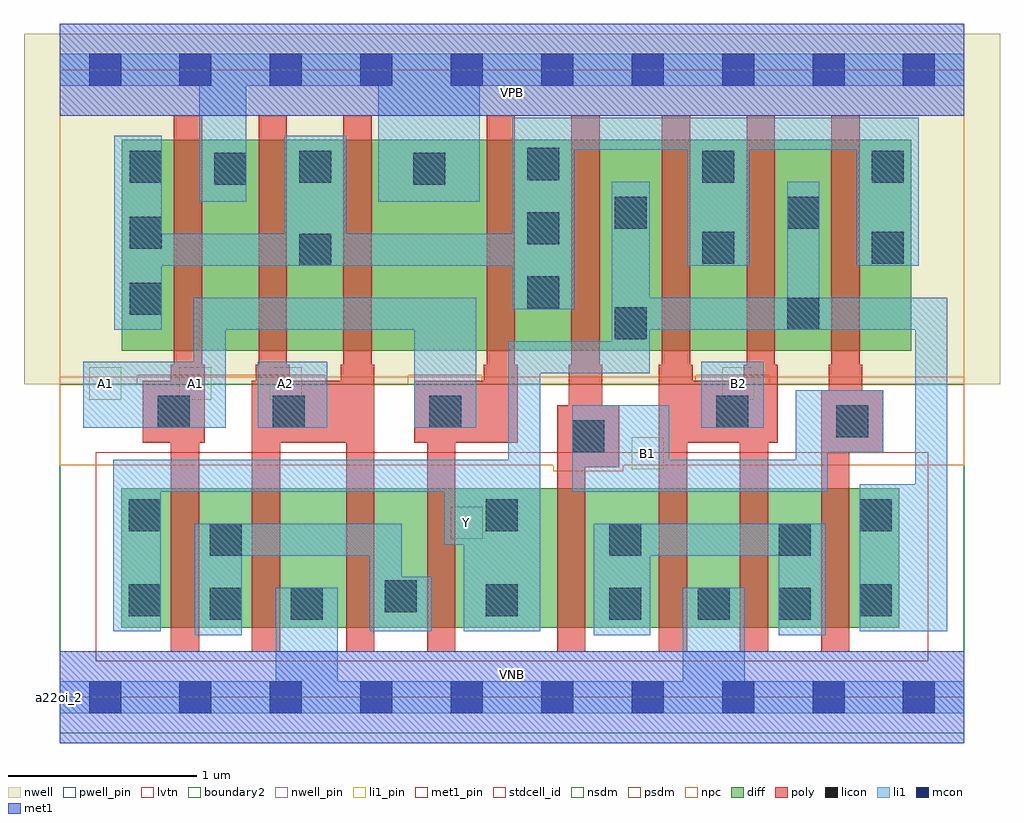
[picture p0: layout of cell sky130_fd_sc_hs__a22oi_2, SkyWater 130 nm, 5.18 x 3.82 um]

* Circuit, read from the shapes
.subckt sky130_fd_sc_hs__a22oi_2 A1 A2 B1 B2 VGND VNB VPB VPWR Y
XM1 n1 A1 Y VNB sky130_fd_pr__nfet_01v8_lvt w=0.74 l=0.15 m=2
XM2 VGND A2 n1 VNB sky130_fd_pr__nfet_01v8_lvt w=0.74 l=0.15 m=2
XM3 n2 B1 Y VNB sky130_fd_pr__nfet_01v8_lvt w=0.74 l=0.15 m=2
XM4 VGND B2 n2 VNB sky130_fd_pr__nfet_01v8_lvt w=0.74 l=0.15 m=2
XM5 VPWR A1 n3 VPB sky130_fd_pr__pfet_01v8 w=1.12 l=0.15 m=2
XM6 n3 A2 VPWR VPB sky130_fd_pr__pfet_01v8 w=1.12 l=0.15 m=2
XM7 Y B1 n3 VPB sky130_fd_pr__pfet_01v8 w=1.12 l=0.15 m=2
XM8 n3 B2 Y VPB sky130_fd_pr__pfet_01v8 w=1.12 l=0.15 m=2
.ends

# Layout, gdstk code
import gdstk
lib = gdstk.Library(unit=1e-6, precision=1e-09)
def R(c, l, rs):  # rectangles x0, y0, x1, y1
    for r in rs: c.add(gdstk.rectangle(r[:2], r[2:], *l))
def A(c, l, x, y, w, h, nx, ny, dx, dy):  # array of equal rectangles
    R(c, l, [(x+i*dx, y+j*dy, x+i*dx+w, y+j*dy+h) for i in range(nx) for j in range(ny)])
def P(c, l, *ps):  # polygons
    for p in ps: c.add(gdstk.Polygon(p, *l))
nwell_pin = (64, 16)
nwell = (64, 20)
diff = (65, 20)
poly = (66, 20)
licon = (66, 44)
li1_pin = (67, 16)
li1 = (67, 20)
mcon = (67, 44)
met1_pin = (68, 16)
met1 = (68, 20)
stdcell_id = (81, 4)
nsdm = (93, 44)
psdm = (94, 20)
npc = (95, 20)
pwell_pin = (122, 16)
lvtn = (125, 44)
boundary2 = (236, 0)

sky130_fd_sc_hs__a22oi_2 = lib.new_cell('sky130_fd_sc_hs__a22oi_2')
R(sky130_fd_sc_hs__a22oi_2, nwell_pin, [(0,3.085,4.8,3.33)])
R(sky130_fd_sc_hs__a22oi_2, nwell, [(-0.19,1.66,4.99,3.52)])
R(sky130_fd_sc_hs__a22oi_2, diff, [(0.325,0.37,4.455,1.11), (0.33,1.84,4.52,2.96)])
P(sky130_fd_sc_hs__a22oi_2, poly, [(4.37,1.63),(4.26,1.63),(4.26,1.765),(4.245,1.765),(4.245,3.09),(4.095,3.09),(4.095,1.765),(4.08,1.765),(4.08,1.63),(4.04,1.63),(4.04,0.24),(4.19,0.24),(4.19,1.3),(4.37,1.3)],
  [(3.81,1.765),(3.795,1.765),(3.795,3.09),(3.645,3.09),(3.645,1.765),(3.63,1.765),(3.63,1.68),(3.36,1.68),(3.36,1.765),(3.345,1.765),(3.345,3.09),(3.195,3.09),(3.195,1.765),(3.18,1.765),(3.18,0.24),(3.33,0.24),(3.33,1.35),(3.61,1.35),(3.61,0.24),(3.76,0.24),(3.76,1.35),(3.81,1.35)],
  [(2.97,1.55),(2.88,1.55),(2.88,1.765),(2.865,1.765),(2.865,3.09),(2.715,3.09),(2.715,1.765),(2.7,1.765),(2.7,1.55),(2.64,1.55),(2.64,0.24),(2.79,0.24),(2.79,1.22),(2.97,1.22)],
  [(2.43,1.765),(2.415,1.765),(2.415,3.09),(2.265,3.09),(2.265,1.765),(2.25,1.765),(2.25,1.68),(1.88,1.68),(1.88,1.35),(1.95,1.35),(1.95,0.24),(2.1,0.24),(2.1,1.35),(2.43,1.35)],
  [(1.67,1.765),(1.655,1.765),(1.655,3.09),(1.505,3.09),(1.505,1.765),(1.49,1.765),(1.49,1.68),(1.22,1.68),(1.22,1.765),(1.205,1.765),(1.205,3.09),(1.055,3.09),(1.055,1.765),(1.04,1.765),(1.04,1.68),(1.02,1.68),(1.02,0.24),(1.17,0.24),(1.17,1.35),(1.52,1.35),(1.52,0.24),(1.67,0.24)],
  [(0.77,1.765),(0.755,1.765),(0.755,3.09),(0.605,3.09),(0.605,1.765),(0.59,1.765),(0.59,1.68),(0.44,1.68),(0.44,1.35),(0.59,1.35),(0.59,0.24),(0.74,0.24),(0.74,1.35),(0.77,1.35)])
A(sky130_fd_sc_hs__a22oi_2, licon, 0.37, 2.03, 0.17, 0.17, 1, 3, 0, 0.35)
A(sky130_fd_sc_hs__a22oi_2, licon, 2.48, 2.065, 0.17, 0.17, 1, 3, 0, 0.34)
R(sky130_fd_sc_hs__a22oi_2, licon, [(0.795,0.41,0.965,0.58), (1.225,0.41,1.395,0.58), (2.915,0.41,3.085,0.58), (3.385,0.41,3.555,0.58), (3.815,0.41,3.985,0.58), (0.365,0.43,0.535,0.6), (2.26,0.43,2.43,0.6), (4.245,0.43,4.415,0.6), (1.725,0.45,1.895,0.62), (0.795,0.75,0.965,0.92), (2.915,0.75,3.085,0.92), (3.815,0.75,3.985,0.92), (0.365,0.88,0.535,1.05), (2.26,0.88,2.43,1.05), (4.245,0.88,4.415,1.05), (2.72,1.3,2.89,1.47), (4.12,1.38,4.29,1.55), (0.52,1.43,0.69,1.6), (1.13,1.43,1.3,1.6), (1.96,1.43,2.13,1.6), (3.485,1.43,3.655,1.6), (2.945,1.9,3.115,2.07), (3.86,1.95,4.03,2.12), (1.27,2.29,1.44,2.46), (3.41,2.3,3.58,2.47), (4.31,2.3,4.48,2.47), (2.945,2.485,3.115,2.655), (3.86,2.485,4.03,2.655), (0.82,2.72,0.99,2.89), (1.875,2.72,2.045,2.89), (1.27,2.73,1.44,2.9), (3.41,2.73,3.58,2.9), (4.31,2.73,4.48,2.9)])
A(sky130_fd_sc_hs__a22oi_2, li1_pin, 0.155, 1.58, 0.17, 0.17, 3, 1, 0.48, 0)
R(sky130_fd_sc_hs__a22oi_2, li1_pin, [(2.075,0.84,2.245,1.01), (3.035,1.21,3.205,1.38), (3.515,1.58,3.685,1.75)])
R(sky130_fd_sc_hs__a22oi_2, li1, [(1.05,1.43,1.42,1.78), (3.405,1.43,3.735,1.78)])
P(sky130_fd_sc_hs__a22oi_2, li1, [(1.69,2.63),(1.69,3.245),(0.99,3.245),(0.99,2.63),(0.74,2.63),(0.74,3.245),(0,3.245),(0,3.415),(4.8,3.415),(4.8,3.245),(2.23,3.245),(2.23,2.63)],
  [(1.145,0.085),(1.145,0.58),(1.475,0.58),(1.475,0.085),(3.305,0.085),(3.305,0.58),(3.635,0.58),(3.635,0.085),(4.8,0.085),(4.8,-0.085),(0,-0.085),(0,0.085)],
  [(3.235,1.26),(3.905,1.26),(3.905,1.63),(4.37,1.63),(4.37,1.3),(4.075,1.3),(4.075,1.09),(2.72,1.09),(2.72,1.55),(3.235,1.55)],
  [(0.125,1.43),(0.125,1.78),(0.71,1.78),(0.71,2.12),(2.21,2.12),(2.21,1.43),(1.88,1.43),(1.88,1.95),(0.88,1.95),(0.88,1.43)],
  [(4.03,2.12),(4.71,2.12),(4.71,0.35),(4.245,0.35),(4.245,1.13),(4.54,1.13),(4.54,1.95),(3.13,1.95),(3.13,1.72),(2.55,1.72),(2.55,0.35),(2.145,0.35),(2.145,0.81),(2.04,0.81),(2.04,1.09),(0.535,1.09),(0.535,0.35),(0.285,0.35),(0.285,1.26),(2.38,1.26),(2.38,1.89),(2.93,1.89),(2.93,2.735),(3.13,2.735),(3.13,2.12),(3.86,2.12),(3.86,2.735),(4.03,2.735)],
  [(1.815,0.92),(1.815,0.64),(1.975,0.64),(1.975,0.35),(1.645,0.35),(1.645,0.75),(0.965,0.75),(0.965,0.33),(0.715,0.33),(0.715,0.92)],
  [(4.23,2.905),(3.66,2.905),(3.66,2.29),(3.33,2.29),(3.33,2.905),(2.73,2.905),(2.73,2.06),(2.4,2.06),(2.4,2.29),(0.54,2.29),(0.54,1.95),(0.29,1.95),(0.29,2.98),(0.54,2.98),(0.54,2.46),(1.19,2.46),(1.19,2.98),(1.52,2.98),(1.52,2.46),(2.4,2.46),(2.4,3.075),(4.56,3.075),(4.56,2.29),(4.23,2.29)],
  [(4.065,0.92),(4.065,0.33),(3.815,0.33),(3.815,0.75),(3.135,0.75),(3.135,0.33),(2.835,0.33),(2.835,0.92)])
A(sky130_fd_sc_hs__a22oi_2, mcon, 0.155, -0.085, 0.17, 0.17, 10, 2, 0.48, 3.33)
R(sky130_fd_sc_hs__a22oi_2, met1_pin, [(0,0,4.8,0.245), (0,3.085,4.8,3.33)])
R(sky130_fd_sc_hs__a22oi_2, met1, [(0,-0.245,4.8,0.245), (0,3.085,4.8,3.575)])
R(sky130_fd_sc_hs__a22oi_2, stdcell_id, [(0,0,4.8,3.33)])
R(sky130_fd_sc_hs__a22oi_2, nsdm, [(0,-0.19,4.8,1.66)])
P(sky130_fd_sc_hs__a22oi_2, psdm, [(4.8,3.52),(0,3.52),(0,1.66),(0.41,1.66),(0.41,1.71),(1.41,1.71),(1.41,1.66),(1.85,1.66),(1.85,1.71),(2.24,1.71),(2.24,1.66),(3.375,1.66),(3.375,1.71),(3.765,1.71),(3.765,1.66),(4.8,1.66)])
P(sky130_fd_sc_hs__a22oi_2, npc, [(4.8,1.7),(0,1.7),(0,1.23),(2.62,1.23),(2.62,1.2),(2.99,1.2),(2.99,1.23),(4.8,1.23)])
R(sky130_fd_sc_hs__a22oi_2, pwell_pin, [(0,0,4.8,0.245)])
R(sky130_fd_sc_hs__a22oi_2, lvtn, [(0.19,0.19,4.61,1.3)])
R(sky130_fd_sc_hs__a22oi_2, boundary2, [(0,0,4.8,3.33)])
sky130_fd_sc_hs__a22oi_2.add(gdstk.Label('a22oi_2', (0,0), layer=83, texttype=44))
sky130_fd_sc_hs__a22oi_2.add(gdstk.Label('VNB', (2.4,0.123), layer=64, texttype=59))
sky130_fd_sc_hs__a22oi_2.add(gdstk.Label('VPB', (2.4,3.208), layer=64, texttype=5))
sky130_fd_sc_hs__a22oi_2.add(gdstk.Label('VPWR', (2.4,3.208), layer=68, texttype=5))
sky130_fd_sc_hs__a22oi_2.add(gdstk.Label('VGND', (2.4,0.123), layer=68, texttype=5))
sky130_fd_sc_hs__a22oi_2.add(gdstk.Label('B2', (3.6,1.665), layer=67, texttype=5))
sky130_fd_sc_hs__a22oi_2.add(gdstk.Label('A2', (1.2,1.665), layer=67, texttype=5))
sky130_fd_sc_hs__a22oi_2.add(gdstk.Label('A1', (0.24,1.665), layer=67, texttype=5))
sky130_fd_sc_hs__a22oi_2.add(gdstk.Label('A1', (0.72,1.665), layer=67, texttype=5))
sky130_fd_sc_hs__a22oi_2.add(gdstk.Label('Y', (2.16,0.925), layer=67, texttype=5))
sky130_fd_sc_hs__a22oi_2.add(gdstk.Label('B1', (3.12,1.295), layer=67, texttype=5))

lib.write_gds('sky130_fd_sc_hs__a22oi_2.gds')
